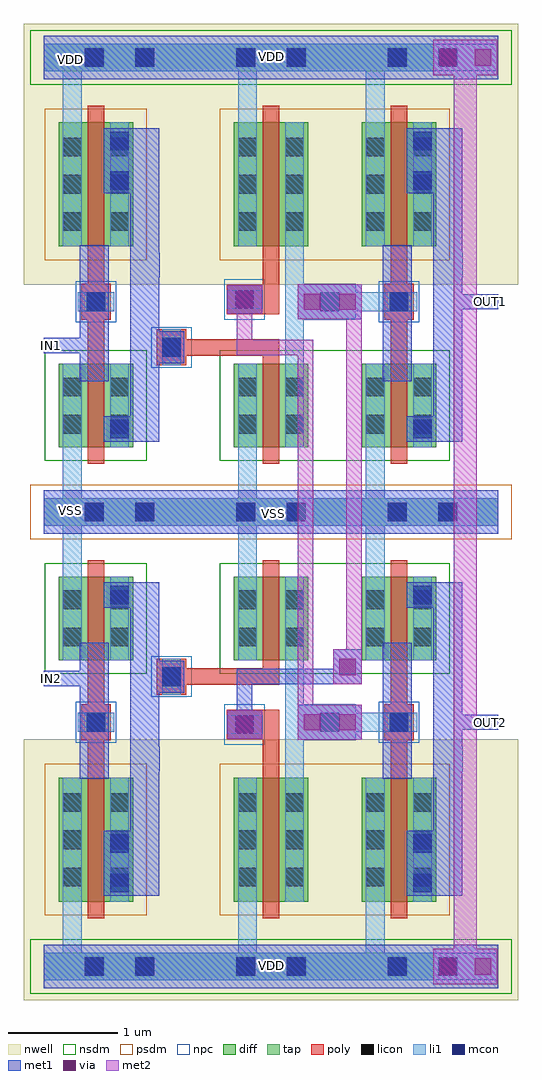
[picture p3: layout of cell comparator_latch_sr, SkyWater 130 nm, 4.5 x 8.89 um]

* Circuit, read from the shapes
.subckt comparator_latch_sr IN1 IN2 OUT1 OUT2 VDD VSS
XM1 INVX1_UPD_1/Y IN2 VSS VSS sky130_fd_pr__nfet_01v8 w=0.76 l=0.15
XM2 INVX1_UPD_0/Y IN1 VSS VSS sky130_fd_pr__nfet_01v8 w=0.76 l=0.15
XM3 INVX1_UPD_3/A INVX1_UPD_1/Y VSS VSS sky130_fd_pr__nfet_01v8 w=0.76 l=0.15
XM4 INVX1_UPD_2/A INVX1_UPD_0/Y VSS VSS sky130_fd_pr__nfet_01v8 w=0.76 l=0.15
XM5 OUT2 INVX1_UPD_3/A VSS VSS sky130_fd_pr__nfet_01v8 w=0.76 l=0.15
XM6 OUT1 INVX1_UPD_2/A VSS VSS sky130_fd_pr__nfet_01v8 w=0.76 l=0.15
XM7 INVX1_UPD_1/Y IN2 VDD VDD sky130_fd_pr__pfet_01v8 w=1.13 l=0.15
XM8 INVX1_UPD_0/Y IN1 VDD VDD sky130_fd_pr__pfet_01v8 w=1.13 l=0.15
XM9 INVX1_UPD_3/A INVX1_UPD_2/A VDD VDD sky130_fd_pr__pfet_01v8 w=1.13 l=0.15
XM10 INVX1_UPD_2/A INVX1_UPD_3/A VDD VDD sky130_fd_pr__pfet_01v8 w=1.13 l=0.15
XM11 OUT2 INVX1_UPD_3/A VDD VDD sky130_fd_pr__pfet_01v8 w=1.13 l=0.15
XM12 OUT1 INVX1_UPD_2/A VDD VDD sky130_fd_pr__pfet_01v8 w=1.13 l=0.15
.ends

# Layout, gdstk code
import gdstk
lib = gdstk.Library(unit=1e-6, precision=1e-09)
def R(c, l, rs):  # rectangles x0, y0, x1, y1
    for r in rs: c.add(gdstk.rectangle(r[:2], r[2:], *l))
def A(c, l, x, y, w, h, nx, ny, dx, dy):  # array of equal rectangles
    R(c, l, [(x+i*dx, y+j*dy, x+i*dx+w, y+j*dy+h) for i in range(nx) for j in range(ny)])
nwell = (64, 20)
diff = (65, 20)
tap = (65, 44)
poly = (66, 20)
licon = (66, 44)
li1 = (67, 20)
mcon = (67, 44)
met1 = (68, 20)
via = (68, 44)
met2 = (69, 20)
nsdm = (93, 44)
psdm = (94, 20)
npc = (95, 20)

invx1_upd = lib.new_cell('INVX1_UPD')
R(invx1_upd, nwell, [(-0.18,2.07,1.56,4.445)])
R(invx1_upd, diff, [(0.135,0.59,0.815,1.35), (0.135,2.42,0.815,3.55)])
R(invx1_upd, tap, [(0,-0.125,1.38,0.125), (0,4.015,1.38,4.265)])
R(invx1_upd, poly, [(0.4,0.44,0.55,1.75), (0.34,1.75,0.61,2.08), (0.4,2.08,0.55,3.7)])
A(invx1_upd, licon, 0.175, 2.56, 0.17, 0.17, 1, 3, 0, 0.34)
A(invx1_upd, licon, 0.605, 2.56, 0.17, 0.17, 1, 3, 0, 0.34)
R(invx1_upd, licon, [(0.375,-0.085,0.545,0.085), (0.835,-0.085,1.005,0.085), (0.175,0.715,0.345,0.885), (0.605,0.715,0.775,0.885), (0.175,1.055,0.345,1.225), (0.605,1.055,0.775,1.225), (0.39,1.83,0.56,2), (0.375,4.055,0.545,4.225), (0.835,4.055,1.005,4.225)])
R(invx1_upd, li1, [(0,-0.125,1.38,0.125), (0.175,0.125,0.345,1.35), (0.605,0.59,0.775,1.35), (0.31,1.83,0.64,2), (0.175,2.42,0.345,4.015), (0.605,2.42,0.775,3.55), (0,4.015,1.38,4.265)])
R(invx1_upd, mcon, [(0.375,-0.085,0.545,0.085), (0.835,-0.085,1.005,0.085), (0.605,0.67,0.775,0.84), (0.39,1.83,0.56,2), (0.605,2.935,0.775,3.105), (0.605,3.295,0.775,3.465), (0.375,4.055,0.545,4.225), (0.835,4.055,1.005,4.225)])
R(invx1_upd, met1, [(0,-0.2,1.38,0.2), (0.545,0.64,1.05,0.87), (0.79,0.87,1.05,2.14), (0.33,1.19,0.59,2.43), (0.79,2.14,1.055,2.36), (0.79,2.36,1.05,2.905), (0.545,2.905,1.05,3.495), (0,3.94,1.38,4.34)])
R(invx1_upd, nsdm, [(0.01,0.465,0.94,1.475), (-0.125,3.89,1.505,4.39)])
R(invx1_upd, psdm, [(-0.125,-0.25,1.505,0.25), (0.01,2.295,0.94,3.675)])
R(invx1_upd, npc, [(0.29,1.73,0.66,2.1)])
invx1_upd.add(gdstk.Label('VDD', (0.695,4.145), layer=68, texttype=5))
invx1_upd.add(gdstk.Label('Y', (0.92,2.25), layer=68, texttype=5))
invx1_upd.add(gdstk.Label('VSS', (0.715,-0.01), layer=68, texttype=5))
invx1_upd.add(gdstk.Label('A', (0.46,1.715), layer=68, texttype=5))

comparator_latch_sr = lib.new_cell('comparator_latch_sr')
R(comparator_latch_sr, nwell, [(1.685,-0.045,2.705,0.67), (1.675,0.67,2.715,2.16), (1.685,2.16,2.705,2.33), (1.685,6.47,2.705,6.64), (1.675,6.64,2.715,8.13), (1.685,8.13,2.705,8.845)])
R(comparator_latch_sr, diff, [(1.855,0.85,2.535,1.98), (1.855,3.05,2.535,3.81), (1.855,4.99,2.535,5.75), (1.855,6.82,2.535,7.95)])
A(comparator_latch_sr, tap, 1.505, 0.135, 1.38, 0.25, 1, 3, 0, 4.14)
R(comparator_latch_sr, poly, [(2.12,0.7,2.27,2.33), (1.79,2.33,2.27,2.6), (1.155,2.735,1.425,2.825), (1.155,2.825,2.27,2.975), (1.155,2.975,1.425,3.065), (2.12,2.975,2.27,3.96), (2.12,4.84,2.27,5.825), (1.155,5.735,1.425,5.825), (1.155,5.825,2.27,5.975), (1.155,5.975,1.425,6.065), (1.79,6.2,2.27,6.47), (2.12,6.47,2.27,8.1)])
A(comparator_latch_sr, licon, 1.88, 0.175, 0.17, 0.17, 1, 3, 0, 4.14)
A(comparator_latch_sr, licon, 2.34, 0.175, 0.17, 0.17, 1, 3, 0, 4.14)
A(comparator_latch_sr, licon, 1.895, 0.99, 0.17, 0.17, 1, 3, 0, 0.34)
A(comparator_latch_sr, licon, 2.325, 0.99, 0.17, 0.17, 1, 3, 0, 0.34)
A(comparator_latch_sr, licon, 1.895, 6.96, 0.17, 0.17, 1, 3, 0, 0.34)
A(comparator_latch_sr, licon, 2.325, 6.96, 0.17, 0.17, 1, 3, 0, 0.34)
R(comparator_latch_sr, licon, [(1.87,2.38,2.04,2.55), (1.205,2.815,1.375,2.985), (1.895,3.175,2.065,3.345), (2.325,3.175,2.495,3.345), (1.895,3.515,2.065,3.685), (2.325,3.515,2.495,3.685), (1.895,5.115,2.065,5.285), (2.325,5.115,2.495,5.285), (1.895,5.455,2.065,5.625), (2.325,5.455,2.495,5.625), (1.205,5.815,1.375,5.985), (1.87,6.25,2.04,6.42)])
A(comparator_latch_sr, li1, 1.505, 0.135, 1.38, 0.25, 1, 3, 0, 4.14)
R(comparator_latch_sr, li1, [(1.895,0.385,2.065,1.98), (2.325,0.85,2.495,2.32), (2.325,2.32,2.965,2.4), (1.79,2.38,2.12,2.55), (2.325,2.4,3.36,2.57), (2.325,2.57,2.965,2.65), (2.325,2.65,2.495,3.81), (1.205,2.735,1.375,3.065), (1.895,3.05,2.065,4.275), (1.895,4.525,2.065,5.75), (2.325,4.99,2.495,6.15), (1.205,5.735,1.375,6.065), (2.325,6.15,2.965,6.23), (2.325,6.23,3.36,6.4), (1.79,6.25,2.12,6.42), (2.325,6.4,2.965,6.48), (2.325,6.48,2.495,7.95), (1.895,6.82,2.065,8.415)])
A(comparator_latch_sr, mcon, 1.88, 0.175, 0.17, 0.17, 1, 3, 0, 4.14)
A(comparator_latch_sr, mcon, 2.34, 0.175, 0.17, 0.17, 1, 3, 0, 4.14)
R(comparator_latch_sr, mcon, [(1.87,2.38,2.04,2.55), (2.645,2.4,2.815,2.57), (1.205,2.815,1.375,2.985), (1.205,5.815,1.375,5.985), (2.645,6.23,2.815,6.4), (1.87,6.25,2.04,6.42)])
A(comparator_latch_sr, met1, 1.505, 0.06, 1.38, 0.4, 1, 3, 0, 4.14)
R(comparator_latch_sr, met1, [(3.675,0.1,4.255,0.42), (2.44,2.325,3.02,2.645), (1.795,2.335,2.115,2.595), (3.805,2.415,4.265,2.555), (1.885,2.595,2.025,2.83), (1.175,2.755,1.405,3.045), (0.125,2.815,0.455,2.955), (1.885,2.83,3.02,2.97), (2.76,2.97,3.02,3.15), (0.3,4.345,0.44,4.485), (1.175,5.755,1.405,6.045), (0.125,5.845,0.455,5.985), (2.44,6.155,3.02,6.475), (1.795,6.205,2.115,6.465), (3.805,6.245,4.265,6.385), (3.675,8.38,4.255,8.7), (0.3,8.455,0.44,8.595)])
R(comparator_latch_sr, via, [(3.73,0.185,3.88,0.335), (4.05,0.185,4.2,0.335), (1.88,2.39,2.03,2.54), (2.495,2.41,2.645,2.56), (2.815,2.41,2.965,2.56), (2.815,2.915,2.965,3.065), (2.495,6.24,2.645,6.39), (2.815,6.24,2.965,6.39), (1.88,6.26,2.03,6.41), (3.73,8.465,3.88,8.615), (4.05,8.465,4.2,8.615)])
R(comparator_latch_sr, met2, [(3.675,0.1,4.255,0.42), (3.86,0.42,4.07,8.38), (2.44,2.325,3.02,2.645), (1.795,2.335,2.115,2.595), (2.44,2.645,2.58,5.83), (2.76,2.83,3.02,3.15), (2.88,3.15,3.02,6.155), (1.885,5.83,2.58,5.97), (1.885,5.97,2.025,6.205), (2.44,6.155,3.02,6.475), (1.795,6.205,2.115,6.465), (3.675,8.38,4.255,8.7)])
R(comparator_latch_sr, nsdm, [(1.38,0.01,3.01,0.51), (1.73,2.925,2.895,3.935), (1.73,4.865,2.895,5.875), (1.38,8.29,3.01,8.79)])
R(comparator_latch_sr, psdm, [(1.73,0.725,2.895,2.105), (1.38,4.15,3.01,4.65), (1.73,6.695,2.895,8.075)])
R(comparator_latch_sr, npc, [(1.77,2.28,2.14,2.65), (1.105,2.715,1.475,3.085), (1.105,5.715,1.475,6.085), (1.77,6.15,2.14,6.52)])
comparator_latch_sr.add(gdstk.Reference(invx1_upd, (0.125,4.4)))
comparator_latch_sr.add(gdstk.Reference(invx1_upd, (0.125,4.4), x_reflection=True))
comparator_latch_sr.add(gdstk.Reference(invx1_upd, (2.885,4.4)))
comparator_latch_sr.add(gdstk.Reference(invx1_upd, (2.885,4.4), x_reflection=True))
comparator_latch_sr.add(gdstk.Label('VSS', (2.22,4.39), layer=68, texttype=5))
comparator_latch_sr.add(gdstk.Label('VDD', (2.2,0.265), layer=68, texttype=5))
comparator_latch_sr.add(gdstk.Label('VDD', (2.2,8.545), layer=68, texttype=5))
comparator_latch_sr.add(gdstk.Label('OUT2', (4.195,2.485), layer=68, texttype=5))
comparator_latch_sr.add(gdstk.Label('OUT1', (4.195,6.315), layer=68, texttype=5))
comparator_latch_sr.add(gdstk.Label('IN2', (0.195,2.885), layer=68, texttype=5))
comparator_latch_sr.add(gdstk.Label('IN1', (0.195,5.915), layer=68, texttype=5))
comparator_latch_sr.add(gdstk.Label('VSS', (0.37,4.415), layer=68, texttype=5))
comparator_latch_sr.add(gdstk.Label('VDD', (0.37,8.525), layer=68, texttype=5))

lib.write_gds('comparator_latch_sr.gds')
